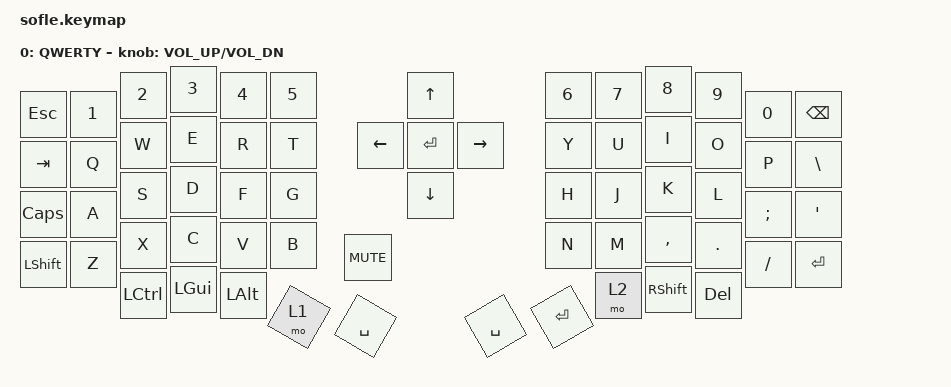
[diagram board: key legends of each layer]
#include <behaviors.dtsi>
#include <dt-bindings/zmk/bt.h>
#include <dt-bindings/zmk/keys.h>
#include <dt-bindings/zmk/mouse.h>
#include <dt-bindings/zmk/outputs.h>
#include <dt-bindings/zmk/rgb.h>

#define ZMK_MOUSE_DEFAULT_MOVE_VAL 1200  // 600
#define ZMK_MOUSE_DEFAULT_SCRL_VAL 20    // 10
#define U_MS_U &mmv MOVE_UP
#define U_MS_D &mmv MOVE_DOWN
#define U_MS_L &mmv MOVE_LEFT
#define U_MS_R &mmv MOVE_RIGHT
#define ZMK_MOUSE_DEFAULT_MOVE_VAL 1200  //  600
#define ZMK_MOUSE_DEFAULT_SCRL_VAL 20    // 10

/ {
    behaviors {
        td0: td0 {
            compatible = "zmk,behavior-tap-dance";
            label = "TD0";
            #binding-cells = <0>;
            bindings = <&kp LEFT_SHIFT &kp CAPS>;
        };

        mmv {
            acceleration-exponent = <1>;      // 1
            time-to-max-speed-ms = <900>;    // 40
            delay-ms = <0>;                   // 0
        };

        msc {
            acceleration-exponent = <1>;      // 0
            time-to-max-speed-ms = <400>;      // 500
            delay-ms = <0>;                   //   10
        };
    };

    rgb_encoder: rgb_encoder {
        compatible = "zmk,behavior-sensor-rotate";
        label = "RGB_ENCODER";
        #sensor-binding-cells = <0>;
        bindings = <&rgb_ug RGB_BRI &rgb_ug RGB_BRD>;
    };

    scroll_encoder: scroll_encoder {
        compatible = "zmk,behavior-sensor-rotate";
        #sensor-binding-cells = <0>;
        bindings = <&kp DOWN &kp UP>;
        tap-ms = <30>;
    };

    keymap {
        compatible = "zmk,keymap";

        layer0 {
            display-name = "QWERTY";

            bindings = <
&kp ESC     &kp N1     &kp N2        &kp N3        &kp N4  &kp N5       &kp UP_ARROW     &kp N6     &kp N7     &kp N8     &kp N9           &kp N0      &kp BACKSPACE
&kp TAB     &kp Q      &kp W         &kp E         &kp R   &kp T        &kp DOWN_ARROW   &kp Y      &kp U      &kp I      &kp O            &kp P       &kp BSLH
&kp CAPS    &kp A      &kp S         &kp D         &kp F   &kp G        &kp LEFT_ARROW   &kp H      &kp J      &kp K      &kp L            &kp SEMI    &kp APOS
&kp LSHFT   &kp Z      &kp X         &kp C         &kp V   &kp B        &kp RIGHT_ARROW  &kp N      &kp M      &kp COMMA  &kp DOT          &kp FSLH    &kp ENTER
&kp C_MUTE  &kp LCTRL  &kp LEFT_GUI  &kp LEFT_ALT  &mo 1   &kp SPACE    &kp ENTER        &kp SPACE  &kp ENTER  &mo 2      &kp RIGHT_SHIFT  &kp DELETE
            >;
            label = "QWERTY";
            sensor-bindings = <&inc_dec_kp C_VOLUME_UP C_VOL_DN>;   
        };

        layer_1 {
            status = "reserved";
        };

        layer_2 {
            status = "reserved";
        };

        layer_3 {
            status = "reserved";
        };

        starcraft {
            status = "reserved";
        };

        layer_5 {
            status = "reserved";
        };
    };
};
